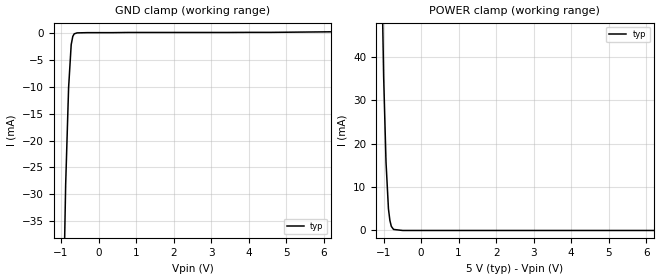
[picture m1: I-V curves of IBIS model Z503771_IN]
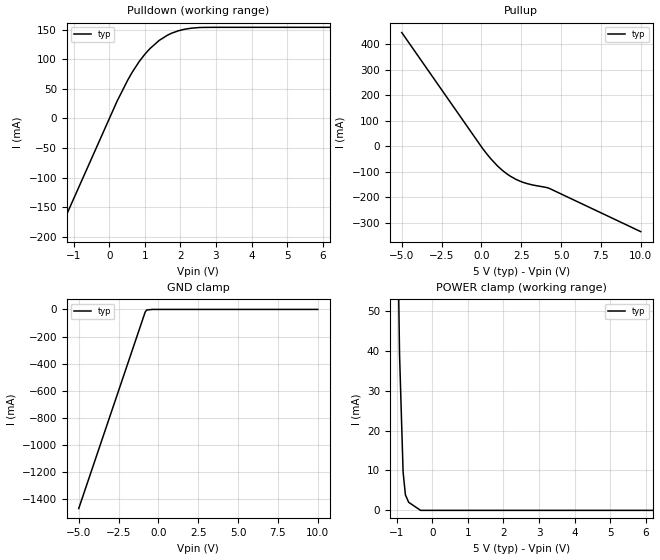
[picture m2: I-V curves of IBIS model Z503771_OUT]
| YOU ARE ONLY AUTHORIZED TO USE THIS SOFTWARE
| ACCORDING TO LICENSOR'S LICENSE RESTRICTIONS.
[IBIS Ver] 3.1
[File Name] mc74ac273n_5.ibs
[File Rev] 2.0
[Source] Measured and created by ICX Technology
[Date] Friday 7/14/00 9:07:59 AM
[Copyright]
| (C) COPYRIGHT 1993-2000
| MENTOR GRAPHICS CORPORATION
| ICX STANDARD LIBRARY, ICX PROJECT MODELING,
| ICX CUSTOM MODELING, ICX VENDOR MODEL
| ALL RIGHTS RESERVED.
| THE FOLLOWING ARE TRADEMARKS OR SERVICE MARKS OF
| MENTOR GRAPHICS CORPORATION:ICX (R), ICX STANDARD
| LIBRARY(R), ICX PROJECT MODELING(R), ICX CUSTOM
| MODELING(R), qualityIBIS(TM), MODELVIEWER(TM),
| AND MODELEDITOR(TM)
| ALL COPIES OF SOFTWARE, INCLUDING BUT NOT LIMITED TO
| ANY MODIFICATIONS, ENHANCEMENTS OR DERIVATIVE WORKS,
| MUST CONTAIN ALL MENTOR GRAPHICS CORPORATION'S
| NOTICES AND LEGENDS, INCLUDING THOSE EMBEDDED IN
| SOFTWARE AND THOSE AFFIXED TO SOFTWARE MEDIUM
| AND CONTAINER, AS RECEIVED FROM MENTOR GRAPHICS
| CORPORATION.
|  ZAP Model Builder 2.7
[Component] MC74AC273N_5
[Manufacturer] OnSemiconductor
[Package]
| variable   typ   min   max
R_pkg  .216ohms NA NA
L_pkg  5.76nH NA NA
C_pkg  1.29pF NA NA
[Pin] signal_name  model_name  R_pin  L_pin C_pin
1 _CLR Z503771_IN .232 9.76n 1.87p
2 Q0 Z503771_OUT .224 7.26n 1.58p
3 D0 Z503771_IN .216 5.26n 1.29p
4 D1 Z503771_IN .208 3.76n 1.0p
5 Q1 Z503771_OUT .2 2.76n .71p
6 Q2 Z503771_OUT .2 2.76n .71p
7 D2 Z503771_IN .208 3.76n 1.0p
8 D3 Z503771_IN .216 5.26n 1.29p
9 Q3 Z503771_OUT .224 7.26n 1.58p
10 GND GND .232 9.76n 1.87p
11 CLK Z503771_IN .232 9.76n 1.87p
12 Q4 Z503771_OUT .224 7.26n 1.58p
13 D4 Z503771_IN .216 5.26n 1.29p
14 D5 Z503771_IN .208 3.76n 1.0p
15 Q5 Z503771_OUT .2 2.76n .71p
16 Q6 Z503771_OUT .2 2.76n .71p
17 D6 Z503771_IN .208 3.76n 1.0p
18 D7 Z503771_IN .216 5.26n 1.29p
19 Q7 Z503771_OUT .224 7.26n 1.58p
20 VCC POWER .232 9.76n 1.87p
| Models and submodels in the file (2): Z503771_IN (Input), Z503771_OUT (Output)
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| (C) COPYRIGHT 1993-2000
| MENTOR GRAPHICS CORPORATION
| ICX STANDARD LIBRARY, ICX PROJECT MODELING,
| ICX CUSTOM MODELING, ICX VENDOR MODEL
| ALL RIGHTS RESERVED.
| THE FOLLOWING ARE TRADEMARKS OR SERVICE MARKS OF
| MENTOR GRAPHICS CORPORATION:ICX (R), ICX STANDARD
| LIBRARY(R), ICX PROJECT MODELING(R), ICX CUSTOM
| MODELING(R), qualityIBIS(TM), MODELVIEWER(TM),
| AND MODELEDITOR(TM)
| ALL COPIES OF SOFTWARE, INCLUDING BUT NOT LIMITED TO
| ANY MODIFICATIONS, ENHANCEMENTS OR DERIVATIVE WORKS,
| MUST CONTAIN ALL MENTOR GRAPHICS CORPORATION'S
| NOTICES AND LEGENDS, INCLUDING THOSE EMBEDDED IN
| SOFTWARE AND THOSE AFFIXED TO SOFTWARE MEDIUM
| AND CONTAINER, AS RECEIVED FROM MENTOR GRAPHICS
| CORPORATION.
| Model Application Version 1.89 2/18/99.
[Model] Z503771_IN
Model_type Input
Vinl = 1.500V
Vinh = 3.500V
C_comp 4.000pF NA NA
| variable typ   min   max
[Voltage Range] 5.000V NA NA
[GND Clamp Reference] 0.000V NA NA
[POWER Clamp Reference] 5.000V NA NA
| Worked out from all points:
|   GND clamp passes 1 mA (typ) near -0.70 V on its own axis
|   POWER clamp passes 1 mA (typ) near -0.79 V on its own axis
[GND Clamp]
-5V       -3.275A    NA         NA
-1.005V   -76.44mA   NA         NA
-877mV    -28.31mA   NA         NA
-798.7mV  -10.18mA   NA         NA
-729.3mV  -2.114mA   NA         NA
-687.1mV  -582uA     NA         NA
-648.5mV  -87.41uA   NA         NA
-571mV    87.77uA    NA         NA
-285.5mV  131.4uA    NA         NA
4.598V    183.3uA    NA         NA
10V       536.2uA    NA         NA
[POWER Clamp]
-5V       3.075A     NA         NA
-1.288V   208.7mA    NA         NA
-1.114V   93.08mA    NA         NA
-997mV    35.44mA    NA         NA
-934mV    15.78mA    NA         NA
-869mV    4.988mA    NA         NA
-831mV    2.329mA    NA         NA
-793mV    961.6uA    NA         NA
-733mV    240uA      NA         NA
-488.7mV  0A         NA         NA
10V       0A         NA         NA
| (C) COPYRIGHT 1993-2000
| MENTOR GRAPHICS CORPORATION
| ICX STANDARD LIBRARY, ICX PROJECT MODELING,
| ICX CUSTOM MODELING, ICX VENDOR MODEL
| ALL RIGHTS RESERVED.
| THE FOLLOWING ARE TRADEMARKS OR SERVICE MARKS OF
| MENTOR GRAPHICS CORPORATION:ICX (R), ICX STANDARD
| LIBRARY(R), ICX PROJECT MODELING(R), ICX CUSTOM
| MODELING(R), qualityIBIS(TM), MODELVIEWER(TM),
| AND MODELEDITOR(TM)
| ALL COPIES OF SOFTWARE, INCLUDING BUT NOT LIMITED TO
| ANY MODIFICATIONS, ENHANCEMENTS OR DERIVATIVE WORKS,
| MUST CONTAIN ALL MENTOR GRAPHICS CORPORATION'S
| NOTICES AND LEGENDS, INCLUDING THOSE EMBEDDED IN
| SOFTWARE AND THOSE AFFIXED TO SOFTWARE MEDIUM
| AND CONTAINER, AS RECEIVED FROM MENTOR GRAPHICS
| CORPORATION.
| Model Application Version 1.89 2/18/99.
[Model] Z503771_OUT
Model_type Output
Vref=0.000V
Rref=500.0ohms
Cref=50.00pF
Vmeas=2.500V
C_comp 8.000pF NA NA
| variable typ   min   max
[Voltage Range] 5.000V NA NA
[POWER Clamp Reference] 5.000V NA NA
[Pullup Reference] 5.000V NA NA
[Pulldown Reference] 0.000V NA NA
[GND Clamp Reference] 0.000V NA NA
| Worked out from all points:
|   slope of the pulldown table from 0 to 0.75 V, typ, clamps not added: 8.54 ohm
|   slope of the pullup table from 0 to 0.75 V, typ, clamps not added: 13 ohm
[GND Clamp]
-5V       -1.47A     NA         NA
-828.8mV  -19.29mA   NA         NA
-737.2mV  -4.331mA   NA         NA
-368.6mV  0A         NA         NA
10V       0A         NA         NA
[Pulldown]
-5V       -673.5mA   NA         NA
215.2mV   29.03mA    NA         NA
517.9mV   64.89mA    NA         NA
640.5mV   77.76mA    NA         NA
839.6mV   96.09mA    NA         NA
1.006V    108.9mA    NA         NA
1.138V    117.6mA    NA         NA
1.401V    131.6mA    NA         NA
1.748V    143.7mA    NA         NA
2.12V     150.5mA    NA         NA
2.596V    153.5mA    NA         NA
10V       153.7mA    NA         NA
[Pullup]
-5V       445.1mA    NA         NA
36mV      -5.81mA    NA         NA
587mV     -49.37mA   NA         NA
1.318V    -94.98mA   NA         NA
1.811V    -117.5mA   NA         NA
2.411V    -136.9mA   NA         NA
3.195V    -151.8mA   NA         NA
4.239V    -164.8mA   NA         NA
10V       -334.9mA   NA         NA
[POWER Clamp]
-5V       3.164A     NA         NA
-1.073V   128.8mA    NA         NA
-926mV    39.08mA    NA         NA
-826mV    9.625mA    NA         NA
-761mV    3.885mA    NA         NA
-669mV    2.021mA    NA         NA
-334.5mV  0A         NA         NA
10V       0A         NA         NA
[Ramp]
| variable typ min max
dV/dt_r 2.949/296.2p NA NA
dV/dt_f 2.949/292.5p NA NA
R_load = 500.0Ohms
